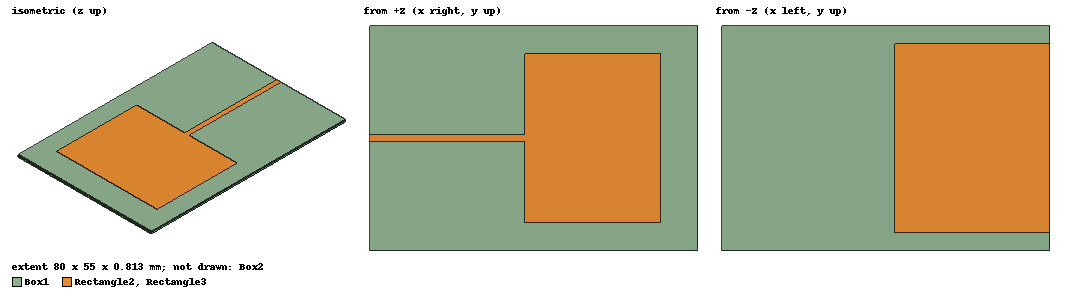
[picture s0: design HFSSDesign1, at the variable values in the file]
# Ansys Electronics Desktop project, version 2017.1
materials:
  vacuum: permittivity=1
  Rogers RO4003 (tm): permittivity=3.55 dielectric_loss_tangent=0.0027

design HFSSDesign1 (HFSS, DrivenModal, model units mm)
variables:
  L = 80mm
  W = 55mm
  Wf = 1.89mm
  Lf = 10mm
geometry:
  Box1 [Rogers RO4003 (tm)] = box(corner=(-L/2, -W/2, 0), size=(L, W, 0.813mm))
  Rectangle1 = rectangle(corner=(-26mm, -54mm, 0mm), x_size=37.88mm, y_size=1.79mm)
  Rectangle1.move(-1.5mm, 53.105mm, 0.813mm)
  Rectangle2 = rectangle(corner=(30mm, -60mm, 0mm), x_size=32.98mm, y_size=41.41mm)
  Rectangle2.move(-47.5mm, 39.295mm, 0.813mm)
  Rectangle3 = rectangle(corner=(-46mm, -18mm, 0mm), x_size=37.8843mm, y_size=46.315mm)
  Rectangle3.move(18.5mm, -5.1575mm, 0mm)
  Rectangle2.move(27.88mm, 0mm, 0mm)
  Rectangle2.unite(Rectangle1)
  [Rectangle2, Rectangle3].move(-12.5mm, 0mm, 0mm)
  Rectangle4 = rectangle(corner=(-40mm, 0.895mm, 0.813mm), y_size=-1.79mm, z_size=-0.813mm)
  Box2 [vacuum] = box(corner=(-60mm, -50mm, -20mm), size=(125mm, 105mm, 60mm))
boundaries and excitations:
  PerfE1: Perfect E Objects=Rectangle2
  PerfE2: Perfect E Objects=Rectangle3
  Rad1: Radiation Objects=Box2
  1: Lumped Port Objects=Rectangle4 Modes{Mode1{IntLine{middle of Rectangle4.edge(z opposite corner) -> middle of Rectangle4.edge(z at corner)} CharImp=Zpi RenormImp=50ohm}} Impedance=50ohm
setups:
  Setup1: HfssDriven Frequency=2.4GHz MaxDeltaS=0.02 MaximumPasses=20 MinimumPasses=1 MinimumConvergedPasses=1 PercentRefinement=30 BasisOrder=1 PortAccuracy=2 RayDensityPerWavelength=4 MaxNumberOfBounces=5
    sweep Sweep: 0GHz to 4GHz, 451 points; Type=Interpolating InterpTolerance=0.5 InterpMaxSolns=250 MinSolvedFreq=0.01GHz InterpUsePortImped=false PassivityErrorTolerance=0.0001
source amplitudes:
  1:1: 1W 0deg
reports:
  S Parameter Plot 1: dB(S(1,1)) vs Freq on Setup1 : Sweep
